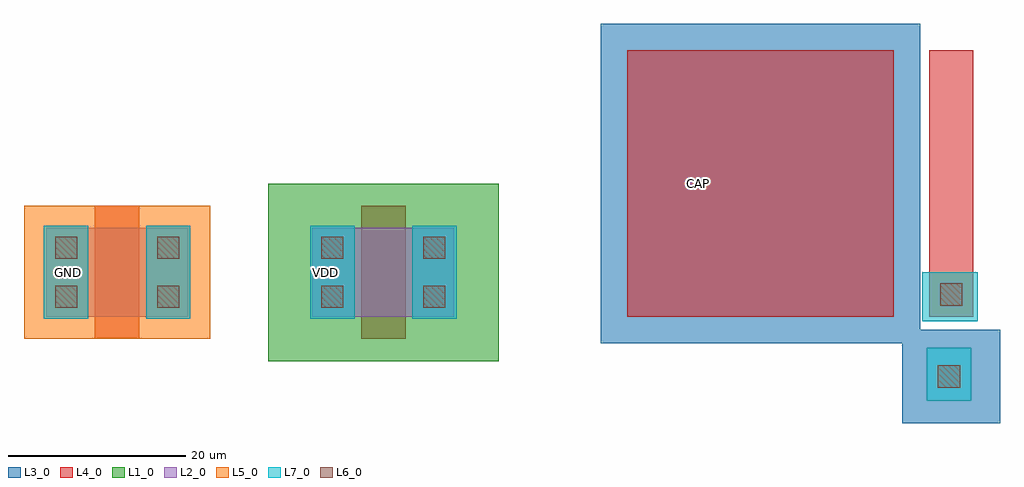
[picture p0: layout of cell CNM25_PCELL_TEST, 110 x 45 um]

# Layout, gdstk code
import gdstk
lib = gdstk.Library(unit=1e-6, precision=2.5e-07)
def R(c, l, rs):  # rectangles x0, y0, x1, y1
    for r in rs: c.add(gdstk.rectangle(r[:2], r[2:], *l))
L1_0 = (1, 0)
L2_0 = (2, 0)
L3_0 = (3, 0)
L4_0 = (4, 0)
L5_0 = (5, 0)
L6_0 = (6, 0)
L7_0 = (7, 0)

cnm25_pcell_test = lib.new_cell('CNM25_PCELL_TEST')
R(cnm25_pcell_test, L1_0, [(19.5,-5,45.5,15)])
R(cnm25_pcell_test, L2_0, [(-5.5,0,10.5,10), (24.5,0,40.5,10)])
R(cnm25_pcell_test, L3_0, [(91,-12,102,-1.5), (57,-3,93,33)])
R(cnm25_pcell_test, L4_0, [(0,-2.5,5,12.5), (30,-2.5,35,12.5), (60,0,90,30), (94,0,99,30)])
R(cnm25_pcell_test, L5_0, [(-8,-2.5,13,12.5)])
R(cnm25_pcell_test, L6_0, [(95,-8,97.5,-5.5), (-4.5,1,-2,3.5), (7,1,9.5,3.5), (25.5,1,28,3.5), (37,1,39.5,3.5), (95.25,1.25,97.75,3.75), (-4.5,6.5,-2,9), (7,6.5,9.5,9), (25.5,6.5,28,9), (37,6.5,39.5,9)])
R(cnm25_pcell_test, L7_0, [(93.75,-9.5,98.75,-3.5), (93.25,-0.5,99.5,5), (-5.75,-0.25,-0.75,10.25), (5.75,-0.25,10.75,10.25), (24.25,-0.25,29.25,10.25), (35.75,-0.25,40.75,10.25)])
cnm25_pcell_test.add(gdstk.Label('GND', (-3,5), layer=64, texttype=0))
cnm25_pcell_test.add(gdstk.Label('VDD', (26,5), layer=64, texttype=0))
cnm25_pcell_test.add(gdstk.Label('CAP', (68,15), layer=64, texttype=0))

lib.write_gds('CNM25_PCELL_TEST.gds')
